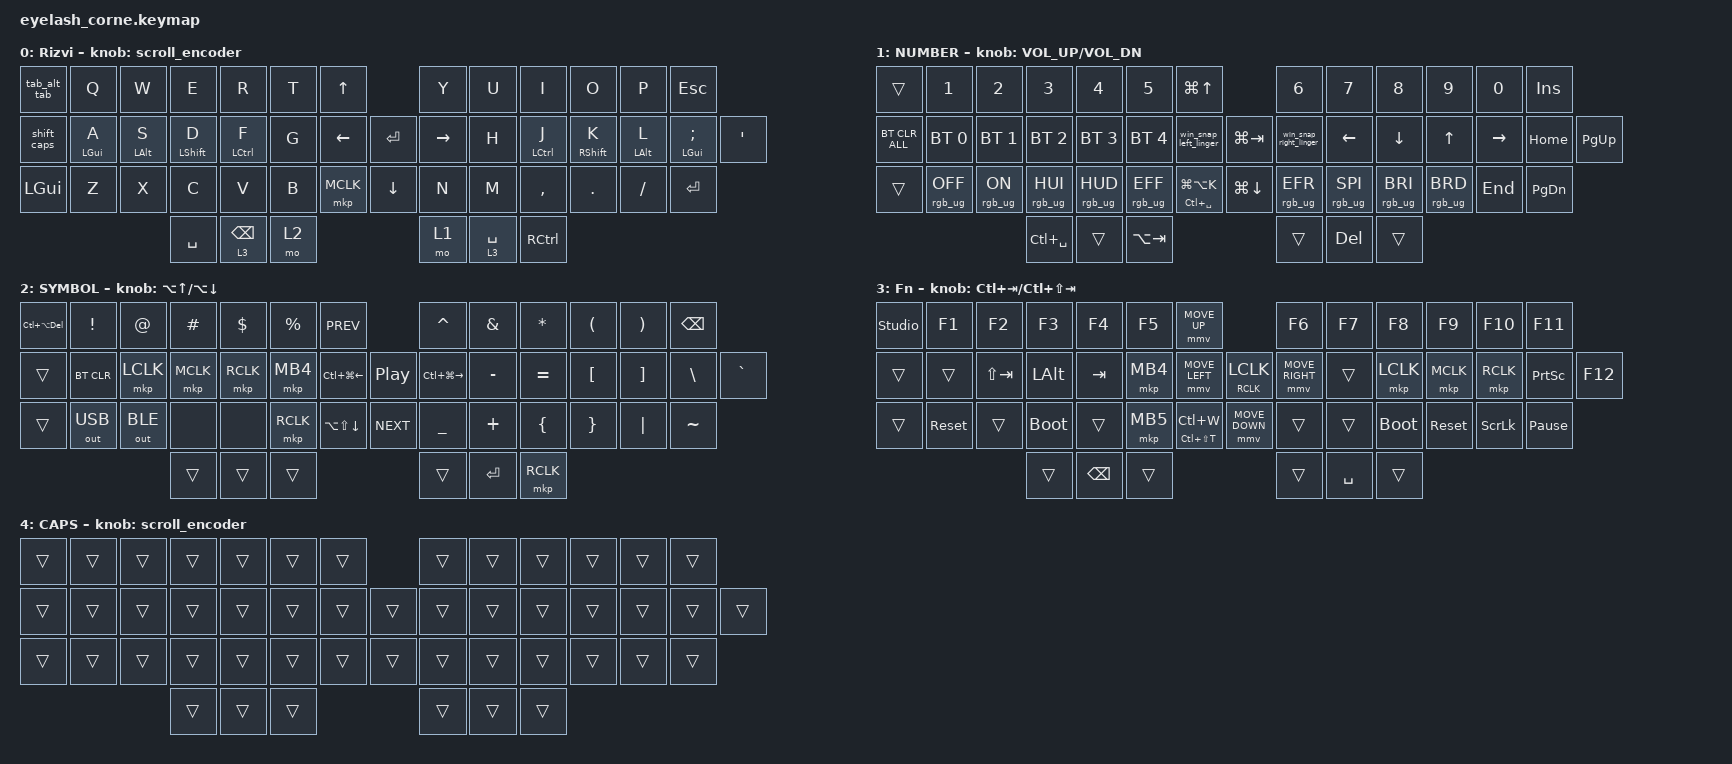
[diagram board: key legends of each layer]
#define ZMK_POINTING_DEFAULT_MOVE_VAL 1200  // 600
#define ZMK_POINTING_DEFAULT_SCRL_VAL 700  // Small, consistent wheel-like step size.

#include <input/processors.dtsi>
#include <zephyr/dt-bindings/input/input-event-codes.h>
#include <behaviors.dtsi>
#include <dt-bindings/zmk/bt.h>
#include <dt-bindings/zmk/keys.h>
#include <dt-bindings/zmk/outputs.h>
#include <dt-bindings/zmk/pointing.h>
#include <dt-bindings/zmk/rgb.h>

&mmv_input_listener { input-processors = <&zip_xy_scaler 2 1>; };

&msc_input_listener { input-processors = <&zip_scroll_scaler 1 1>; };  // 1:1 scaling for predictable wheel behavior.

&msc {
    acceleration-exponent = <2>;      // Mild acceleration, closer to physical wheel feel.
    time-to-max-speed-ms = <500>;    // Slow ramp so normal turns stay consistent.
    delay-ms = <0>;                   // No delay for immediate response
};

&mmv {
    time-to-max-speed-ms = <500>;     // Faster mouse acceleration (was 1000)
    acceleration-exponent = <1>;      // Smoother acceleration curve (was 2)
    trigger-period-ms = <12>;         // More responsive (was 16)
};

&soft_off { hold-time-ms = <2000>; };

/* Homerow mods configuration */
// Key Layout for Eyelash Corne (42 keys + extras)
// Based on matrix transform and actual key bindings:
//
// Standard Keys (0-41):
// ┌───┬───┬───┬───┬───┬───┐              ┌───┐     ┌───┬───┬───┬───┬───┬───┐
// │ 0 │ 1 │ 2 │ 3 │ 4 │ 5 │              │ 6 │     │ 7 │ 8 │ 9 │10 │11 │12 │
// ├───┼───┼───┼───┼───┼───┤          ┌───┼───┼───┐ ├───┼───┼───┼───┼───┼───┤
// │13 │14 │15 │16 │17 │18 │          │19 │20 │21 │ │22 │23 │24 │25 │26 │27 │
// ├───┼───┼───┼───┼───┼───┤          └───┼───┼───┘ ├───┼───┼───┼───┼───┼───┤
// │28 │29 │30 │31 │32 │33 │  ┌───┐       │35 │     │36 │37 │38 │39 │40 │41 │
// └───┴───┴───┼───┼───┼───┤  │34 │       └───┘     ├───┼───┼───┼───┴───┴───┘
//             │36 │37 │38 │  └───┘                 │39 │40 │41 │
//             └───┴───┴───┘                        └───┴───┴───┘
//
// Special positioning for joystick/pointing:
//  6 = UP movement       19,20,21 = LEFT, CENTER/CLICK, RIGHT movement    35 = DOWN movement  
//
// Note: Encoder scroll is handled separately via sensor-bindings

#define KEYS_L 0 1 2 3 4 5 13 14 15 16 17 18 28 29 30 31 32 33 34  // Left hand keys
#define KEYS_R 7 8 9 10 11 12 22 23 24 25 26 27 35 36 37 38 39 40 41  // Right hand keys (excluding joystick)
#define THUMBS 36 37 38 40 41 43  // Existing triggers plus Backspace thumb (position 43).
#define POINTING 6 19 20 21 35  // Joystick cluster
#define QUICK_TAP_MS 300

// Create homerow mod behaviors

#define MAKE_HRM(NAME, HOLD, TAP, TRIGGER_POS) \
    NAME: NAME { \
        compatible = "zmk,behavior-hold-tap"; \
        #binding-cells = <2>; \
        bindings = <HOLD>, <TAP>; \
        flavor = "balanced"; \
        tapping-term-ms = <280>; \
        quick-tap-ms = <QUICK_TAP_MS>; \
        require-prior-idle-ms = <150>; \
        hold-trigger-on-release; \
        hold-trigger-key-positions = <TRIGGER_POS>; \
    };

// Shift-specific homerow mods: shift is the one mod needed mid-stream while
// typing fast, so it gets a shorter tapping term and a much shorter
// prior-idle window. A misfired shift only produces a capital letter,
// so the looser settings are a safe tradeoff here (unlike GUI/Alt/Ctrl).

#define MAKE_HRM_SHIFT(NAME, HOLD, TAP, TRIGGER_POS) \
    NAME: NAME { \
        compatible = "zmk,behavior-hold-tap"; \
        #binding-cells = <2>; \
        bindings = <HOLD>, <TAP>; \
        flavor = "hold-preferred"; \
        tapping-term-ms = <200>; \
        quick-tap-ms = <QUICK_TAP_MS>; \
        require-prior-idle-ms = <40>; \
        hold-trigger-key-positions = <TRIGGER_POS>; \
    };

/ {
    behaviors {
        // Left-hand homerow mods

        MAKE_HRM(hml, &kp, &kp, KEYS_R THUMBS POINTING)

        // Right-hand homerow mods  

        MAKE_HRM(hmr, &kp, &kp, KEYS_L THUMBS POINTING)

        // Shift-only variants (faster hold resolution for mid-typing use)

        MAKE_HRM_SHIFT(hml_shift, &kp, &kp, KEYS_R THUMBS POINTING)
        MAKE_HRM_SHIFT(hmr_shift, &kp, &kp, KEYS_L THUMBS POINTING)

        tab_alt_tab: tab_alt_tab {
            compatible = "zmk,behavior-tap-dance";
            #binding-cells = <0>;
            tapping-term-ms = <220>;
            bindings = <&kp TAB>, <&kp LA(TAB)>;
        };

        shift_caps: shift_caps {
            compatible = "zmk,behavior-tap-dance";
            display-name = "Shift/Caps Word";
            #binding-cells = <0>;
            bindings = <&kp LEFT_SHIFT>, <&cw_tog>;

            tapping-term-ms = <200>;
        };

        // Symbol layer center joystick: tap=Copy, 2x=Paste, 3x=Cut
        td_cpv: td_copy_paste_cut {
            compatible = "zmk,behavior-tap-dance";
            #binding-cells = <0>;
            tapping-term-ms = <300>;
            bindings = <&kp LC(C)>, <&kp LC(V)>, <&kp LC(X)>;
        };

        // Fn layer center joystick: tap=LCLK, hold=RCLK
        joy_click_hold: joy_click_hold {
            compatible = "zmk,behavior-hold-tap";
            #binding-cells = <2>;
            flavor = "balanced";
            tapping-term-ms = <250>;
            quick-tap-ms = <175>;
            bindings = <&mkp>, <&mkp>;
        };
    };

    combos {
        compatible = "zmk,combos";

        combo_copy {
            timeout-ms = <50>;
            key-positions = <30 31>; // X + C 
            bindings = <&kp LC(C)>;
            layers = <0>;
        };

        combo_paste {
            timeout-ms = <50>;
            key-positions = <31 32>; // C + V 
            bindings = <&kp LC(V)>;
            layers = <0>;
        };

        combo_cut {
            timeout-ms = <50>;
            key-positions = <30 32>; // X + V 
            bindings = <&kp LC(X)>;
            layers = <0>;
        };

        combo_undo {
            timeout-ms = <50>;
            key-positions = <29 30>; // Z + X
            bindings = <&kp LC(Z)>;
            layers = <0>;
        };

        combo_delete {
            timeout-ms = <50>;
            key-positions = <11 12>; // P + Esc
            bindings = <&kp DEL>;
            layers = <0>;
        };

        combo_ctrl_d {
            timeout-ms = <50>;
            key-positions = <2 3>; // W + E
            bindings = <&kp LC(D)>;
            layers = <0>;
        };

        combo_ctrl_f {
            timeout-ms = <50>;
            key-positions = <17 18>; // F + G (Find + Go)
            bindings = <&kp LC(F)>;
            layers = <0>;
        };

        combo_ctrl_shift_f {
            timeout-ms = <50>;
            key-positions = <2 4>; // W + R
            bindings = <&kp LC(LS(F))>;
            layers = <0>;
        };

            combo_ctrl_p {
                timeout-ms = <50>;
                key-positions = <10 11>; // O + P
                bindings = <&kp LC(P)>;
                layers = <0>;
            };

        combo_save {
            timeout-ms = <50>;
            key-positions = <1 2>; // Q + W
            bindings = <&kp LC(S)>;
            layers = <0>;
        };

        combo_copilot_inline {
            timeout-ms = <50>;
            key-positions = <10 9>; // I + O (adjacent on right hand row)
            bindings = <&kp LC(I)>; // Ctrl+I (GitHub Copilot inline suggestion)
            layers = <0>;
        };

        combo_all {
            bindings = <&kp LC(A)>;
            key-positions = <1 3>;
            timeout-ms = <50>;
            layers = <0>;
        };

        combo_enter {
            bindings = <&kp RET>;
            key-positions = <23 17>;
            timeout-ms = <50>;
            layers = <0>;
        };

        combo_terminal {
            bindings = <&kp LC(GRAVE)>;
            key-positions = <0 1>;
            timeout-ms = <50>;
            layers = <0>;
        };

        combo_tab_pinky {
            bindings = <&kp TAB>;
            key-positions = <13 27>; // Left pinky (SHF) + right pinky (')
            timeout-ms = <50>;
            layers = <0>;
        };

        combo_alt_f4 {
            bindings = <&kp LA(F4)>;
            key-positions = <0 12>; // TAB + ESC
            timeout-ms = <50>;
            layers = <0>;
        };

        combo_toggle_comment {
            bindings = <&kp LC(FSLH)>;
            key-positions = <39 40>; // . + /
            timeout-ms = <50>;
            layers = <0>;
        };

        combo_lock_windows {
            bindings = <&kp LG(L)>;
            key-positions = <40 41>; // / + Enter
            timeout-ms = <50>;
            layers = <0>;
        };

        combo_rename {
            bindings = <&kp F2>;
            key-positions = <4 5>; // R + T (Rename + Tag/Type)
            timeout-ms = <50>;
            layers = <0>;
        };

        softoff {
            bindings = <&soft_off>;
            key-positions = <1 15 29>;
        };
    };

    rgb_encoder: rgb_encoder {
        compatible = "zmk,behavior-sensor-rotate";
        #sensor-binding-cells = <0>;
        bindings = <&rgb_ug RGB_BRI>, <&rgb_ug RGB_BRD>;
    };

    scroll_encoder: scroll_encoder {
        compatible = "zmk,behavior-sensor-rotate";
        #sensor-binding-cells = <0>;
        bindings = <&msc SCRL_DOWN>, <&msc SCRL_UP>;
        tap-ms = <30>;
    };

  

    macros {
        // Activates Caps Word AND toggles layer 4 ("CAPS") at the same time,
        // so the display shows the layer name while caps word is active.
        // Double-shift again to toggle layer 4 back off.
        cw_tog: cw_tog {
            compatible = "zmk,behavior-macro";
            #binding-cells = <0>;
            bindings = <&macro_tap &caps_word &tog 4>;
        };

        // Snap window left and dismiss Snap Assist overlay with ESC.
        win_snap_left_linger: win_snap_left_linger {
            compatible = "zmk,behavior-macro";
            #binding-cells = <0>;
            bindings = <&macro_press &kp LGUI &macro_tap &kp LEFT &macro_release &kp LGUI &macro_tap &kp ESCAPE>;
        };

        // Snap window right and dismiss Snap Assist overlay with ESC.
        win_snap_right_linger: win_snap_right_linger {
            compatible = "zmk,behavior-macro";
            #binding-cells = <0>;
            bindings = <&macro_press &kp LGUI &macro_tap &kp RIGHT &macro_release &kp LGUI &macro_tap &kp ESCAPE>;
        };
    };

    keymap {
        compatible = "zmk,keymap";

        default_layer {
            display-name = "Rizvi";
            bindings = <
&tab_alt_tab      &kp Q        &kp W        &kp E         &kp R         &kp T                         &kp UP                &kp Y  &kp U         &kp I         &kp O        &kp P           &kp ESC
&shift_caps  &hml LGUI A  &hml LALT S  &hml_shift LSHFT D  &hml LCTRL F  &kp G               &kp LEFT  &kp ENTER  &kp RIGHT  &kp H  &hmr LCTRL J  &hmr_shift RSHFT K  &hmr LALT L  &hmr LGUI SEMI  &kp SQT
&kp LGUI     &kp Z        &kp X        &kp C         &kp V         &kp B  &mkp MCLK              &kp DOWN              &kp N  &kp M         &kp COMMA     &kp DOT      &kp FSLH        &kp ENTER
                                       &kp SPACE     &lt 3 BSPC    &mo 2                                               &mo 1  &lt 3 SPACE   &kp RCTRL
            >;

            sensor-bindings = <&scroll_encoder>;
        };

        lower_layer {
            display-name = "NUMBER";
            bindings = <
&trans           &kp N1           &kp N2          &kp N3           &kp N4           &kp N5                                               &kp LG(UP)                   &kp N6           &kp N7           &kp N8           &kp N9           &kp N0    &kp INS
&bt BT_CLR_ALL   &bt BT_SEL 0     &bt BT_SEL 1    &bt BT_SEL 2     &bt BT_SEL 3     &bt BT_SEL 4                                 &win_snap_left_linger  &kp LG(TAB)   &win_snap_right_linger  &kp LEFT         &kp DOWN         &kp UP           &kp RIGHT        &kp HOME  &kp PG_UP
&trans           &rgb_ug RGB_OFF  &rgb_ug RGB_ON  &rgb_ug RGB_HUI  &rgb_ug RGB_HUD  &rgb_ug RGB_EFF  &mt LC(SPACE) LG(LA(K))             &kp LG(DOWN)                 &rgb_ug RGB_EFR  &rgb_ug RGB_SPI  &rgb_ug RGB_BRI  &rgb_ug RGB_BRD  &kp END   &kp PG_DN
                                                  &kp LC(SPACE)    &trans           &kp LA(TAB)                                                                       &trans           &kp DEL           &trans
            >;

            sensor-bindings = <&inc_dec_kp C_VOL_UP C_VOL_DN>;
        };

        raise_layer {
            display-name = "SYMBOL";
            bindings = <
&kp LC(LA(DEL))  &kp EXCL      &kp AT        &kp HASH   &kp DLLR  &kp PRCNT                            &kp C_PREV             &kp CARET  &kp AMPS   &kp ASTRK  &kp LPAR  &kp RPAR  &kp BSPC
&trans           &bt BT_CLR    &mkp LCLK     &mkp MCLK  &mkp RCLK &mkp MB4             &kp LC(LG(LEFT))  &kp C_PLAY_PAUSE  &kp LC(LG(RIGHT))   &kp MINUS  &kp EQUAL  &kp LBKT   &kp RBKT  &kp BSLH  &kp GRAVE
&trans           &out OUT_USB  &out OUT_BLE  &none      &none     &mkp RCLK  &kp LA(LS(DOWN))               &kp C_NEXT             &kp UNDER  &kp PLUS   &kp LBRC   &kp RBRC  &kp PIPE  &kp TILDE
                                             &trans     &trans    &trans                                                                 &trans     &kp RET    &mkp RCLK
            >;

            sensor-bindings = <&inc_dec_kp LA(UP) LA(DOWN)>;
        };

        layer_3 {
            display-name = "Fn";
            bindings = <
&studio_unlock  &kp F1      &kp F2         &kp F3        &kp F4         &kp F5                                           &mmv MOVE_UP                     &kp F6  &kp F7     &kp F8       &kp F9      &kp F10          &kp F11
&trans          &trans      &kp LS(TAB)    &kp LALT      &kp TAB        &mkp MB4                         &mmv MOVE_LEFT  &joy_click_hold RCLK LCLK  &mmv MOVE_RIGHT  &trans  &mkp LCLK  &mkp MCLK    &mkp RCLK   &kp PRINTSCREEN  &kp F12
&trans          &sys_reset  &trans         &bootloader   &trans         &mkp MB5  &mt LC(LS(T)) LC(W)                    &mmv MOVE_DOWN                   &trans  &trans     &bootloader  &sys_reset  &kp SCROLLLOCK   &kp PAUSE_BREAK
                                           &trans        &kp BSPC       &trans                                                                            &trans  &kp SPACE  &trans
            >;

            sensor-bindings = <&inc_dec_kp LC(TAB) LC(LS(TAB))>;
        };

        // Transparent overlay: all keys pass through to layer 0.
        // Its only job is to change the display name to "CAPS" while
        // Caps Word is active. Double-shift toggles this layer back off.
        caps_layer {
            display-name = "CAPS";
            bindings = <
&trans  &trans  &trans  &trans  &trans  &trans  &trans  &trans  &trans  &trans  &trans  &trans  &trans
&trans  &trans  &trans  &trans  &trans  &trans  &trans  &trans  &trans  &trans  &trans  &trans  &trans  &trans  &trans
&trans  &trans  &trans  &trans  &trans  &trans  &trans  &trans  &trans  &trans  &trans  &trans  &trans  &trans
                        &trans  &trans  &trans                          &trans  &trans  &trans
            >;
            sensor-bindings = <&scroll_encoder>;
        };
    };
};
